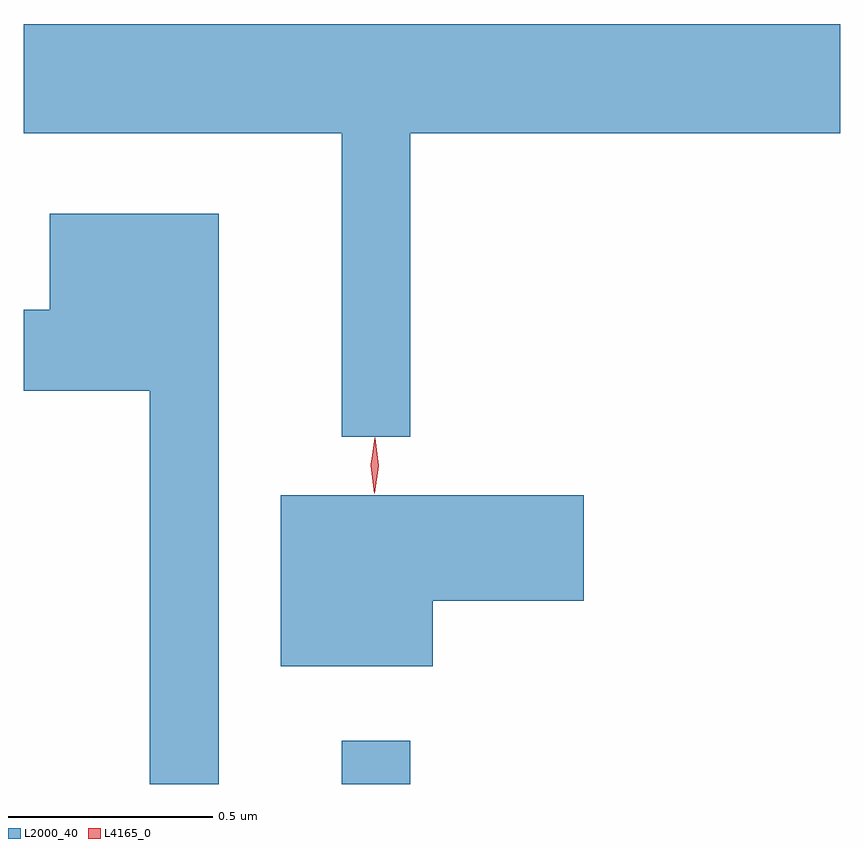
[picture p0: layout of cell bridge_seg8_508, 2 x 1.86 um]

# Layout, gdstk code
import gdstk
lib = gdstk.Library(unit=1e-6, precision=1e-09)
def R(c, l, rs):  # rectangles x0, y0, x1, y1
    for r in rs: c.add(gdstk.rectangle(r[:2], r[2:], *l))
def P(c, l, *ps):  # polygons
    for p in ps: c.add(gdstk.Polygon(p, *l))
L2000_40 = (2000, 40)
L4165_0 = (4165, 0)

bridge_seg8_508 = lib.new_cell('bridge_seg8_508')
R(bridge_seg8_508, L2000_40, [(313.691,1894.762,313.859,1894.868)])
P(bridge_seg8_508, L2000_40, [(313.859,1896.356),(314.912,1896.356),(314.912,1896.624),(312.912,1896.624),(312.912,1896.356),(313.691,1896.356),(313.691,1895.613),(313.859,1895.613)],
  [(313.389,1896.159),(312.976,1896.159),(312.976,1895.924),(312.912,1895.924),(312.912,1895.726),(313.221,1895.726),(313.221,1894.762),(313.389,1894.762)],
  [(313.914,1895.211),(314.284,1895.211),(314.284,1895.469),(313.541,1895.469),(313.541,1895.051),(313.914,1895.051)])
P(bridge_seg8_508, L4165_0, [(313.771,1895.474),(313.771,1895.474),(313.762,1895.542),(313.772,1895.61),(313.773,1895.61),(313.773,1895.61),(313.782,1895.542),(313.772,1895.474)],
  [(313.771,1895.48),(313.77,1895.481),(313.762,1895.544),(313.772,1895.606),(313.773,1895.607),(313.773,1895.606),(313.782,1895.543),(313.771,1895.481)])

lib.write_gds('bridge_seg8_508.gds')
